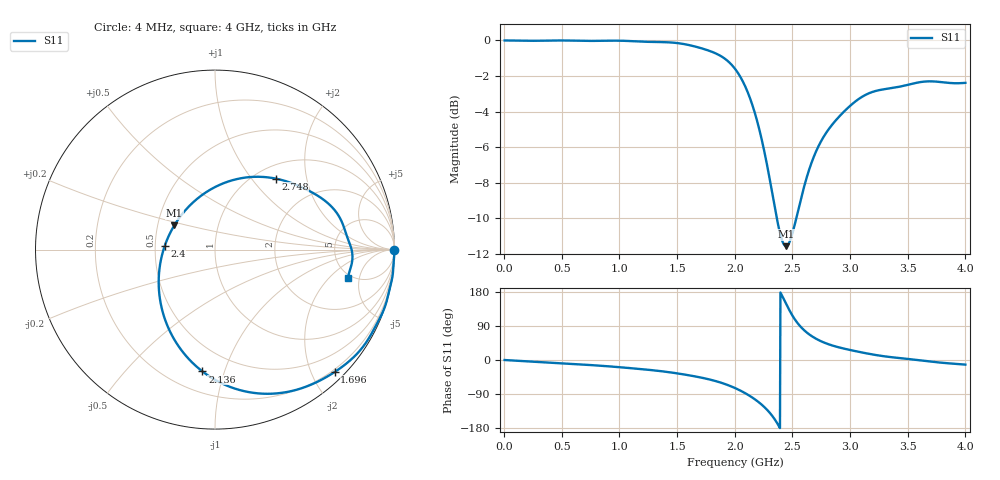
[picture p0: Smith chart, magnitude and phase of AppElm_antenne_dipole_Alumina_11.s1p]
! TOUCHSTONE file generated by CST MICROWAVE STUDIO
! Date and time: Sat May 14 12:01:04 2022
! Project name: AppElm_antenne_dipole_Alumina.cst
! Parameters = {L=33; e=0.035; f=2.45e+09; h=1.6; i=0.8; l1=2; lambda=122.449; ls=37.5; wl=1.7; ws=80}
! Header version: 2018
! Port assignment regex: !\s*Touchstone port\s*([0-9]+)\s*=\s*(CST MWS port|CST DS port)\s*([0-9]+|Zmin|Zmax)\s*\(\"(.*)\"\)(\s*mode\s*([0-9]+))?.*
! Touchstone port assignment:
! Touchstone port 1 = CST MWS port 1 ("")
# GHz S MA R 50
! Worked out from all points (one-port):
!   1000 points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, 4 MHz to 4 GHz, reference 50 ohm
!   lowest |S11| = -11.6 dB at 2.444 GHz (marker M1), VSWR 1.72, Z = 30.6 + j8.91 ohm
!   |S11| at or under -10 dB: 2.365 GHz to 2.534 GHz (169 MHz wide, 6.9 % of centre)
!   S11 on the Smith chart (normalised r, x): 4 MHz: open; 1.696 GHz: 0.16, -2.37; 2.136 GHz: 0.33, -0.85; 2.4 GHz: 0.56, +0.03; 2.748 GHz: 1.23, +1.33; 4 GHz: 4.60, -3.49
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0.004  1 -0.1
0.504  1 -8.7
1.004  0.9984 -19.1
1.32  0.9901 -28.1
1.504  0.983 -35.4
1.696  0.9536 -45.7
1.784  0.9338 -51.6
1.86  0.9111 -57.9
1.932  0.8793 -65.2
2.004  0.8307 -74.2
2.072  0.7645 -84.5
2.136  0.6825 -95.9
2.212  0.5633 -112.4
2.276  0.4532 -130.1
2.336  0.3552 -152.0
2.4  0.2808 175.8
2.444  0.2638 149.1
2.504  0.2897 115.2
2.56  0.3434 91.6
2.616  0.4034 74.7
2.676  0.4623 61.3
2.748  0.5203 49.5
2.856  0.5856 37.3
3.004  0.6564 26.1
3.204  0.7182 14.1
3.504  0.7508 2.7
3.68  0.7672 -3.5
4  0.7599 -12.2
